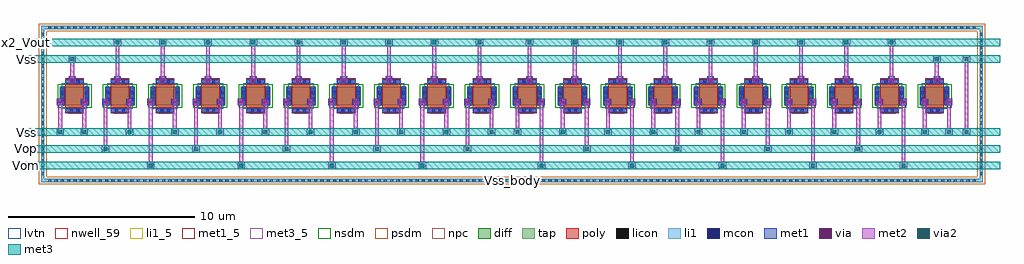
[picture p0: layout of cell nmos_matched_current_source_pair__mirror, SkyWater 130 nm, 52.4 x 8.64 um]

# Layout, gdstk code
from math import pi, radians
import gdstk
lib = gdstk.Library(unit=1e-6, precision=1e-09)
def R(c, l, rs):  # rectangles x0, y0, x1, y1
    for r in rs: c.add(gdstk.rectangle(r[:2], r[2:], *l))
def A(c, l, x, y, w, h, nx, ny, dx, dy):  # array of equal rectangles
    R(c, l, [(x+i*dx, y+j*dy, x+i*dx+w, y+j*dy+h) for i in range(nx) for j in range(ny)])
nwell_59 = (64, 59)
diff = (65, 20)
tap = (65, 44)
poly = (66, 20)
licon = (66, 44)
li1_5 = (67, 5)
li1 = (67, 20)
mcon = (67, 44)
met1_5 = (68, 5)
met1 = (68, 20)
via = (68, 44)
met2 = (69, 20)
via2 = (69, 44)
met3_5 = (70, 5)
met3 = (70, 20)
nsdm = (93, 44)
psdm = (94, 20)
npc = (95, 20)
lvtn = (125, 44)

sky130_fd_pr__nfet_01v8_ = lib.new_cell('sky130_fd_pr__nfet_01v8_lvt_YU23CF')
R(sky130_fd_pr__nfet_01v8_, diff, [(-0.79,-0.5,0.79,0.5)])
R(sky130_fd_pr__nfet_01v8_, poly, [(-0.5,-0.94,0.5,0.94)])
A(sky130_fd_pr__nfet_01v8_, licon, -0.73, -0.425, 0.17, 0.17, 1, 3, 0, 0.34)
A(sky130_fd_pr__nfet_01v8_, licon, 0.56, -0.425, 0.17, 0.17, 1, 3, 0, 0.34)
R(sky130_fd_pr__nfet_01v8_, licon, [(-0.255,-0.86,-0.085,-0.69), (0.085,-0.86,0.255,-0.69), (-0.255,0.69,-0.085,0.86), (0.085,0.69,0.255,0.86)])
R(sky130_fd_pr__nfet_01v8_, li1, [(-0.5,-0.86,0.5,-0.69), (-0.73,-0.52,-0.56,0.52), (0.56,-0.52,0.73,0.52), (-0.5,0.69,0.5,0.86)])
R(sky130_fd_pr__nfet_01v8_, mcon, [(-0.265,-0.86,-0.095,-0.69), (0.095,-0.86,0.265,-0.69), (-0.73,-0.265,-0.56,-0.095), (0.56,-0.265,0.73,-0.095), (-0.73,0.095,-0.56,0.265), (0.56,0.095,0.73,0.265), (-0.265,0.69,-0.095,0.86), (0.095,0.69,0.265,0.86)])
R(sky130_fd_pr__nfet_01v8_, met1, [(-0.48,-0.89,0.48,-0.66), (-0.76,-0.5,-0.53,0.5), (0.53,-0.5,0.76,0.5), (-0.48,0.66,0.48,0.89)])
R(sky130_fd_pr__nfet_01v8_, nsdm, [(-0.915,-0.625,0.915,0.625)])
R(sky130_fd_pr__nfet_01v8_, npc, [(-0.355,-0.96,0.355,-0.59), (-0.355,0.59,0.355,0.96)])
R(sky130_fd_pr__nfet_01v8_, lvtn, [(-0.68,-0.68,0.68,0.68)])
sky130_fd_pr__nfet_01v8_.add(gdstk.Label('D', (-0.645,0), layer=67, texttype=5))
sky130_fd_pr__nfet_01v8_.add(gdstk.Label('S', (0.645,0), layer=67, texttype=5))
sky130_fd_pr__nfet_01v8_.add(gdstk.Label('G', (0,0.775), layer=67, texttype=5))

nfet_01v8_lvt_w1_l1_m9__ = lib.new_cell('nfet_01v8_lvt_W1_L1_m9__nf1_gboth_sdfull_ng')
R(nfet_01v8_lvt_w1_l1_m9__, nwell_59, [(0.05,0.89,0.15,0.99)])
R(nfet_01v8_lvt_w1_l1_m9__, met1_5, [(0.03,0.94,0.26,1.14), (1.32,0.94,1.55,1.14), (0.31,1.6,1.27,1.83)])
R(nfet_01v8_lvt_w1_l1_m9__, met1, [(0.03,0.94,0.26,1.14), (1.32,0.94,1.55,1.14), (0.31,1.6,1.27,1.83)])
nfet_01v8_lvt_w1_l1_m9__.add(gdstk.Reference(sky130_fd_pr__nfet_01v8_, (0.79,0.94)))
nfet_01v8_lvt_w1_l1_m9__.add(gdstk.Label('D', (0.145,1.04), layer=68, texttype=5))
nfet_01v8_lvt_w1_l1_m9__.add(gdstk.Label('S', (1.435,1.04), layer=68, texttype=5))
nfet_01v8_lvt_w1_l1_m9__.add(gdstk.Label('G', (0.79,1.715), layer=68, texttype=5))
nfet_01v8_lvt_w1_l1_m9__.add(gdstk.Label('B', (0.1,0.94), layer=64, texttype=59))

nmos_matched_current_sou = lib.new_cell('nmos_matched_current_source_pair__mirror')
R(nmos_matched_current_sou, tap, [(-0.885,-3.685,49.685,-3.515), (-0.885,-3.515,-0.715,4.535), (49.515,-3.515,49.685,4.535), (-0.885,4.535,49.685,4.705)])
A(nmos_matched_current_sou, licon, -0.505, -3.685, 0.17, 0.17, 147, 2, 0.34, 8.22)
A(nmos_matched_current_sou, licon, -0.885, -3.315, 0.17, 0.17, 1, 23, 0, 0.34)
A(nmos_matched_current_sou, licon, 49.515, -3.315, 0.17, 0.17, 1, 23, 0, 0.34)
R(nmos_matched_current_sou, li1_5, [(24.35,-3.65,24.45,-3.55)])
R(nmos_matched_current_sou, li1, [(-0.885,-3.685,49.685,-3.515), (-0.885,-3.515,-0.715,4.535), (49.515,-3.515,49.685,4.535), (-0.885,4.535,49.685,4.705)])
A(nmos_matched_current_sou, met1, 0.61, 1.63, 0.36, 0.36, 10, 1, 2.43, 0)
A(nmos_matched_current_sou, met1, 25.16, 1.63, 0.36, 0.36, 10, 1, 2.43, 0)
R(nmos_matched_current_sou, met1, [(-0.035,0.44,0.325,0.8), (1.255,0.44,1.615,0.8), (2.395,0.44,2.755,0.8), (3.685,0.44,4.045,0.8), (4.825,0.44,5.185,0.8), (6.115,0.44,6.475,0.8), (7.255,0.44,7.615,0.8), (8.545,0.44,8.905,0.8), (9.685,0.44,10.045,0.8), (10.975,0.44,11.335,0.8), (12.115,0.44,12.475,0.8), (13.405,0.44,13.765,0.8), (14.545,0.44,14.905,0.8), (15.835,0.44,16.195,0.8), (16.975,0.44,17.335,0.8), (18.265,0.44,18.625,0.8), (19.405,0.44,19.765,0.8), (20.695,0.44,21.055,0.8), (21.835,0.44,22.195,0.8), (23.125,0.44,23.485,0.8), (24.515,0.44,24.875,0.8), (25.805,0.44,26.165,0.8), (26.945,0.44,27.305,0.8), (28.235,0.44,28.595,0.8), (29.375,0.44,29.735,0.8), (30.665,0.44,31.025,0.8), (31.805,0.44,32.165,0.8), (33.095,0.44,33.455,0.8), (34.235,0.44,34.595,0.8), (35.525,0.44,35.885,0.8), (36.665,0.44,37.025,0.8), (37.955,0.44,38.315,0.8), (39.095,0.44,39.455,0.8), (40.385,0.44,40.745,0.8), (41.525,0.44,41.885,0.8), (42.815,0.44,43.175,0.8), (43.955,0.44,44.315,0.8), (45.245,0.44,45.605,0.8), (46.385,0.44,46.745,0.8), (47.675,0.44,48.035,0.8)])
A(nmos_matched_current_sou, via, 0.715, 1.735, 0.15, 0.15, 10, 1, 2.43, 0)
A(nmos_matched_current_sou, via, 25.265, 1.735, 0.15, 0.15, 10, 1, 2.43, 0)
R(nmos_matched_current_sou, via, [(0.07,0.545,0.22,0.695), (1.36,0.545,1.51,0.695), (2.5,0.545,2.65,0.695), (3.79,0.545,3.94,0.695), (4.93,0.545,5.08,0.695), (6.22,0.545,6.37,0.695), (7.36,0.545,7.51,0.695), (8.65,0.545,8.8,0.695), (9.79,0.545,9.94,0.695), (11.08,0.545,11.23,0.695), (12.22,0.545,12.37,0.695), (13.51,0.545,13.66,0.695), (14.65,0.545,14.8,0.695), (15.94,0.545,16.09,0.695), (17.08,0.545,17.23,0.695), (18.37,0.545,18.52,0.695), (19.51,0.545,19.66,0.695), (20.8,0.545,20.95,0.695), (21.94,0.545,22.09,0.695), (23.23,0.545,23.38,0.695), (24.62,0.545,24.77,0.695), (25.91,0.545,26.06,0.695), (27.05,0.545,27.2,0.695), (28.34,0.545,28.49,0.695), (29.48,0.545,29.63,0.695), (30.77,0.545,30.92,0.695), (31.91,0.545,32.06,0.695), (33.2,0.545,33.35,0.695), (34.34,0.545,34.49,0.695), (35.63,0.545,35.78,0.695), (36.77,0.545,36.92,0.695), (38.06,0.545,38.21,0.695), (39.2,0.545,39.35,0.695), (40.49,0.545,40.64,0.695), (41.63,0.545,41.78,0.695), (42.92,0.545,43.07,0.695), (44.06,0.545,44.21,0.695), (45.35,0.545,45.5,0.695), (46.49,0.545,46.64,0.695), (47.78,0.545,47.93,0.695)])
A(nmos_matched_current_sou, met2, 4.805, -3, 0.4, 0.4, 4, 1, 4.86, 0)
A(nmos_matched_current_sou, met2, 25.785, -3, 0.4, 0.4, 5, 1, 4.86, 0)
A(nmos_matched_current_sou, met2, 4.905, -2.6, 0.2, 3.06, 4, 1, 4.86, 0)
A(nmos_matched_current_sou, met2, 25.885, -2.6, 0.2, 3.06, 5, 1, 4.86, 0)
A(nmos_matched_current_sou, met2, 2.375, -2.1, 0.4, 0.4, 5, 1, 4.86, 0)
A(nmos_matched_current_sou, met2, 28.215, -2.1, 0.4, 0.4, 4, 1, 4.86, 0)
A(nmos_matched_current_sou, met2, 2.475, -1.7, 0.2, 2.16, 5, 1, 4.86, 0)
A(nmos_matched_current_sou, met2, 28.315, -1.7, 0.2, 2.16, 4, 1, 4.86, 0)
A(nmos_matched_current_sou, met2, 1.235, -1.2, 0.4, 0.4, 10, 1, 2.43, 0)
A(nmos_matched_current_sou, met2, 24.495, -1.2, 0.4, 0.4, 10, 1, 2.43, 0)
A(nmos_matched_current_sou, met2, 1.335, -0.8, 0.2, 1.26, 10, 1, 2.43, 0)
A(nmos_matched_current_sou, met2, 24.595, -0.8, 0.2, 1.26, 10, 1, 2.43, 0)
A(nmos_matched_current_sou, met2, 0.66, 1.65, 0.26, 0.32, 10, 1, 2.43, 0)
A(nmos_matched_current_sou, met2, 25.21, 1.65, 0.26, 0.32, 10, 1, 2.43, 0)
A(nmos_matched_current_sou, met2, 3.12, 1.97, 0.2, 1.65, 9, 1, 2.43, 0)
A(nmos_matched_current_sou, met2, 25.24, 1.97, 0.2, 1.65, 9, 1, 2.43, 0)
A(nmos_matched_current_sou, met2, 3.02, 3.62, 0.4, 0.4, 9, 1, 2.43, 0)
A(nmos_matched_current_sou, met2, 25.14, 3.62, 0.4, 0.4, 9, 1, 2.43, 0)
R(nmos_matched_current_sou, met2, [(-0.055,-1.2,0.345,-0.8), (47.655,-1.2,48.055,-0.8), (48.6,-1.2,49,-0.8), (0.045,-0.8,0.245,0.46), (47.755,-0.8,47.955,0.46), (48.7,-0.8,48.9,2.72), (0.015,0.46,0.275,0.78), (1.305,0.46,1.565,0.78), (2.445,0.46,2.705,0.78), (3.735,0.46,3.995,0.78), (4.875,0.46,5.135,0.78), (6.165,0.46,6.425,0.78), (7.305,0.46,7.565,0.78), (8.595,0.46,8.855,0.78), (9.735,0.46,9.995,0.78), (11.025,0.46,11.285,0.78), (12.165,0.46,12.425,0.78), (13.455,0.46,13.715,0.78), (14.595,0.46,14.855,0.78), (15.885,0.46,16.145,0.78), (17.025,0.46,17.285,0.78), (18.315,0.46,18.575,0.78), (19.455,0.46,19.715,0.78), (20.745,0.46,21.005,0.78), (21.885,0.46,22.145,0.78), (23.175,0.46,23.435,0.78), (24.565,0.46,24.825,0.78), (25.855,0.46,26.115,0.78), (26.995,0.46,27.255,0.78), (28.285,0.46,28.545,0.78), (29.425,0.46,29.685,0.78), (30.715,0.46,30.975,0.78), (31.855,0.46,32.115,0.78), (33.145,0.46,33.405,0.78), (34.285,0.46,34.545,0.78), (35.575,0.46,35.835,0.78), (36.715,0.46,36.975,0.78), (38.005,0.46,38.265,0.78), (39.145,0.46,39.405,0.78), (40.435,0.46,40.695,0.78), (41.575,0.46,41.835,0.78), (42.865,0.46,43.125,0.78), (44.005,0.46,44.265,0.78), (45.295,0.46,45.555,0.78), (46.435,0.46,46.695,0.78), (47.725,0.46,47.985,0.78), (0.69,1.97,0.89,2.72), (47.11,1.97,47.31,2.72), (0.59,2.72,0.99,3.12), (47.01,2.72,47.41,3.12), (48.6,2.72,49,3.12)])
A(nmos_matched_current_sou, via2, 4.905, -2.9, 0.2, 0.2, 4, 1, 4.86, 0)
A(nmos_matched_current_sou, via2, 25.885, -2.9, 0.2, 0.2, 5, 1, 4.86, 0)
A(nmos_matched_current_sou, via2, 2.475, -2, 0.2, 0.2, 5, 1, 4.86, 0)
A(nmos_matched_current_sou, via2, 28.315, -2, 0.2, 0.2, 4, 1, 4.86, 0)
A(nmos_matched_current_sou, via2, 1.335, -1.1, 0.2, 0.2, 10, 1, 2.43, 0)
A(nmos_matched_current_sou, via2, 24.595, -1.1, 0.2, 0.2, 10, 1, 2.43, 0)
A(nmos_matched_current_sou, via2, 3.12, 3.72, 0.2, 0.2, 9, 1, 2.43, 0)
A(nmos_matched_current_sou, via2, 25.24, 3.72, 0.2, 0.2, 9, 1, 2.43, 0)
R(nmos_matched_current_sou, via2, [(0.045,-1.1,0.245,-0.9), (47.755,-1.1,47.955,-0.9), (48.7,-1.1,48.9,-0.9), (0.69,2.82,0.89,3.02), (47.11,2.82,47.31,3.02), (48.7,2.82,48.9,3.02)])
A(nmos_matched_current_sou, met3_5, -1.7, -2.85, 0.1, 0.1, 1, 3, 0, 0.9)
R(nmos_matched_current_sou, met3_5, [(-1.7,2.87,-1.6,2.97), (-1.7,3.77,-1.6,3.87)])
A(nmos_matched_current_sou, met3, -1.8, -3, 52.4, 0.4, 1, 3, 0, 0.9)
R(nmos_matched_current_sou, met3, [(-1.8,2.72,50.6,3.12), (-1.8,3.62,50.6,4.02)])
R(nmos_matched_current_sou, psdm, [(-1.01,-3.81,49.81,-3.39), (-1.01,-3.39,-0.59,4.41), (49.39,-3.39,49.81,4.41), (-1.01,4.41,49.81,4.83)])
nmos_matched_current_sou.add(gdstk.Reference(nfet_01v8_lvt_w1_l1_m9__, (47.88,0), rotation=pi, x_reflection=True))
nmos_matched_current_sou.add(gdstk.Reference(nfet_01v8_lvt_w1_l1_m9__, (45.45,0), rotation=pi, x_reflection=True))
nmos_matched_current_sou.add(gdstk.Reference(nfet_01v8_lvt_w1_l1_m9__, (43.02,0), rotation=pi, x_reflection=True))
nmos_matched_current_sou.add(gdstk.Reference(nfet_01v8_lvt_w1_l1_m9__, (40.59,0), rotation=pi, x_reflection=True))
nmos_matched_current_sou.add(gdstk.Reference(nfet_01v8_lvt_w1_l1_m9__, (38.16,0), rotation=pi, x_reflection=True))
nmos_matched_current_sou.add(gdstk.Reference(nfet_01v8_lvt_w1_l1_m9__, (35.73,0), rotation=pi, x_reflection=True))
nmos_matched_current_sou.add(gdstk.Reference(nfet_01v8_lvt_w1_l1_m9__, (33.3,0), rotation=pi, x_reflection=True))
nmos_matched_current_sou.add(gdstk.Reference(nfet_01v8_lvt_w1_l1_m9__, (30.87,0), rotation=pi, x_reflection=True))
nmos_matched_current_sou.add(gdstk.Reference(nfet_01v8_lvt_w1_l1_m9__, (28.44,0), rotation=pi, x_reflection=True))
nmos_matched_current_sou.add(gdstk.Reference(nfet_01v8_lvt_w1_l1_m9__, (26.01,0), rotation=pi, x_reflection=True))
nmos_matched_current_sou.add(gdstk.Reference(nfet_01v8_lvt_w1_l1_m9__, (22,0)))
nmos_matched_current_sou.add(gdstk.Reference(nfet_01v8_lvt_w1_l1_m9__, (19.57,0)))
nmos_matched_current_sou.add(gdstk.Reference(nfet_01v8_lvt_w1_l1_m9__, (17.14,0)))
nmos_matched_current_sou.add(gdstk.Reference(nfet_01v8_lvt_w1_l1_m9__, (14.71,0)))
nmos_matched_current_sou.add(gdstk.Reference(nfet_01v8_lvt_w1_l1_m9__, (12.28,0)))
nmos_matched_current_sou.add(gdstk.Reference(nfet_01v8_lvt_w1_l1_m9__, (9.85,0)))
nmos_matched_current_sou.add(gdstk.Reference(nfet_01v8_lvt_w1_l1_m9__, (7.42,0)))
nmos_matched_current_sou.add(gdstk.Reference(nfet_01v8_lvt_w1_l1_m9__, (4.99,0)))
nmos_matched_current_sou.add(gdstk.Reference(nfet_01v8_lvt_w1_l1_m9__, (2.56,0)))
nmos_matched_current_sou.add(gdstk.Reference(nfet_01v8_lvt_w1_l1_m9__, (0.13,0)))
nmos_matched_current_sou.add(gdstk.Label('Vss', (-1.65,2.92), layer=70, texttype=5))
nmos_matched_current_sou.add(gdstk.Label('x2_Vout', (-1.65,3.82), layer=70, texttype=5))
nmos_matched_current_sou.add(gdstk.Label('Vss', (-1.65,-1), layer=70, texttype=5))
nmos_matched_current_sou.add(gdstk.Label('Vop', (-1.65,-1.9), layer=70, texttype=5))
nmos_matched_current_sou.add(gdstk.Label('Vom', (-1.65,-2.8), layer=70, texttype=5))
nmos_matched_current_sou.add(gdstk.Label('Vss_body', (24.4,-3.6), layer=67, texttype=5))

lib.write_gds('nmos_matched_current_source_pair__mirror.gds')
